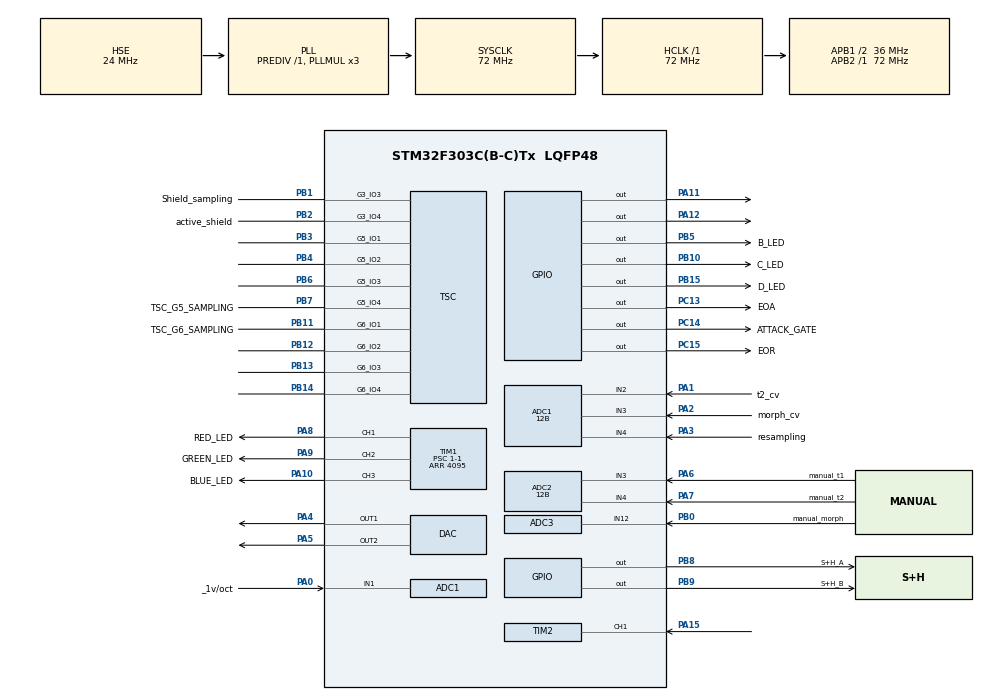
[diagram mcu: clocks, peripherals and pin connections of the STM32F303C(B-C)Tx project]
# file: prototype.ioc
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ADC1.Channel-0\#ChannelRegularConversion=ADC_CHANNEL_1
ADC1.Channel-1\#ChannelRegularConversion=ADC_CHANNEL_2
ADC1.Channel-2\#ChannelRegularConversion=ADC_CHANNEL_3
ADC1.Channel-4\#ChannelRegularConversion=ADC_CHANNEL_4
ADC1.ClockPrescaler=ADC_CLOCK_ASYNC_DIV1
ADC1.ContinuousConvMode=ENABLE
ADC1.DMAContinuousRequests=ENABLE
ADC1.DataAlign=ADC_DATAALIGN_RIGHT
ADC1.DiscontinuousConvMode=DISABLE
ADC1.EOCSelection=ADC_EOC_SEQ_CONV
ADC1.EnableAnalogWatchDog1=false
ADC1.EnableAnalogWatchDog2=false
ADC1.EnableAnalogWatchDog3=false
ADC1.EnableInjectedConversion=DISABLE
ADC1.EnableRegularConversion=ENABLE
ADC1.ExternalTrigConv=ADC_SOFTWARE_START
ADC1.ExternalTrigConvEdge=ADC_EXTERNALTRIGCONVEDGE_NONE
ADC1.LowPowerAutoWait=DISABLE
ADC1.NbrOfConversion=4
ADC1.NbrOfConversionFlag=1
ADC1.Offset-0\#ChannelRegularConversion=0
ADC1.Offset-1\#ChannelRegularConversion=0
ADC1.Offset-2\#ChannelRegularConversion=0
ADC1.Offset-4\#ChannelRegularConversion=0
ADC1.OffsetNumber-0\#ChannelRegularConversion=ADC_OFFSET_NONE
ADC1.OffsetNumber-1\#ChannelRegularConversion=ADC_OFFSET_NONE
ADC1.OffsetNumber-2\#ChannelRegularConversion=ADC_OFFSET_NONE
ADC1.OffsetNumber-4\#ChannelRegularConversion=ADC_OFFSET_NONE
ADC1.Overrun=ADC_OVR_DATA_OVERWRITTEN
ADC1.Rank-0\#ChannelRegularConversion=1
ADC1.Rank-1\#ChannelRegularConversion=2
ADC1.Rank-2\#ChannelRegularConversion=3
ADC1.Rank-4\#ChannelRegularConversion=4
ADC1.Resolution=ADC_RESOLUTION_12B
ADC1.SamplingTime-0\#ChannelRegularConversion=ADC_SAMPLETIME_181CYCLES_5
ADC1.SamplingTime-1\#ChannelRegularConversion=ADC_SAMPLETIME_181CYCLES_5
ADC1.SamplingTime-2\#ChannelRegularConversion=ADC_SAMPLETIME_181CYCLES_5
ADC1.SamplingTime-4\#ChannelRegularConversion=ADC_SAMPLETIME_181CYCLES_5
ADC1.ScanConvMode=ADC_SCAN_ENABLE
ADC1.master=1
ADC2.Channel-0\#ChannelRegularConversion=ADC_CHANNEL_3
ADC2.Channel-1\#ChannelRegularConversion=ADC_CHANNEL_4
ADC2.ClockPrescaler=ADC_CLOCK_ASYNC_DIV1
ADC2.ContinuousConvMode=ENABLE
ADC2.DMAContinuousRequests=ENABLE
ADC2.DataAlign=ADC_DATAALIGN_RIGHT
ADC2.DiscontinuousConvMode=DISABLE
ADC2.EOCSelection=ADC_EOC_SEQ_CONV
ADC2.EnableAnalogWatchDog1=false
ADC2.EnableAnalogWatchDog2=false
ADC2.EnableAnalogWatchDog3=false
ADC2.EnableInjectedConversion=ENABLE
ADC2.EnableRegularConversion=ENABLE
ADC2.ExternalTrigConv=ADC_SOFTWARE_START
ADC2.ExternalTrigConvEdge=ADC_EXTERNALTRIGCONVEDGE_NONE
ADC2.InjNumberOfConversion=0
ADC2.LowPowerAutoWait=DISABLE
ADC2.NbrOfConversion=2
ADC2.NbrOfConversionFlag=1
ADC2.Offset-0\#ChannelRegularConversion=0
ADC2.Offset-1\#ChannelRegularConversion=0
ADC2.OffsetNumber-0\#ChannelRegularConversion=ADC_OFFSET_NONE
ADC2.OffsetNumber-1\#ChannelRegularConversion=ADC_OFFSET_1
ADC2.Overrun=ADC_OVR_DATA_OVERWRITTEN
ADC2.Rank-0\#ChannelRegularConversion=1
ADC2.Rank-1\#ChannelRegularConversion=2
ADC2.Resolution=ADC_RESOLUTION_12B
ADC2.SamplingTime-0\#ChannelRegularConversion=ADC_SAMPLETIME_61CYCLES_5
ADC2.SamplingTime-1\#ChannelRegularConversion=ADC_SAMPLETIME_61CYCLES_5
ADC2.ScanConvMode=ADC_SCAN_ENABLE
ADC3.Channel-106\#ChannelRegularConversion=ADC_CHANNEL_12
ADC3.ClockPrescaler=ADC_CLOCK_ASYNC_DIV1
ADC3.ContinuousConvMode=ENABLE
ADC3.DMAContinuousRequests=ENABLE
ADC3.DataAlign=ADC_DATAALIGN_RIGHT
ADC3.DiscontinuousConvMode=DISABLE
ADC3.EOCSelection=ADC_EOC_SINGLE_CONV
ADC3.EnableAnalogWatchDog1=false
ADC3.EnableAnalogWatchDog2=false
ADC3.EnableAnalogWatchDog3=false
ADC3.EnableInjectedConversion=DISABLE
ADC3.EnableRegularConversion=ENABLE
ADC3.ExternalTrigConv=ADC_SOFTWARE_START
ADC3.ExternalTrigConvEdge=ADC_EXTERNALTRIGCONVEDGE_NONE
ADC3.LowPowerAutoWait=DISABLE
ADC3.NbrOfConversion=1
ADC3.NbrOfConversionFlag=1
ADC3.Offset-106\#ChannelRegularConversion=0
ADC3.OffsetNumber-106\#ChannelRegularConversion=ADC_OFFSET_NONE
ADC3.Overrun=ADC_OVR_DATA_OVERWRITTEN
ADC3.Rank-106\#ChannelRegularConversion=1
ADC3.Resolution=ADC_RESOLUTION_12B
ADC3.SamplingTime-106\#ChannelRegularConversion=ADC_SAMPLETIME_61CYCLES_5
ADC3.ScanConvMode=ADC_SCAN_DISABLE
ADC3.master=1
DAC.DAC_OutputBuffer=DAC_OUTPUTBUFFER_DISABLE
DAC.DAC_OutputBuffer2=DAC_OUTPUTBUFFER_DISABLE
DAC.DAC_Trigger=DAC_TRIGGER_T6_TRGO
DAC.DAC_Trigger2=DAC_TRIGGER_T6_TRGO
Dma.ADC1.2.Direction=DMA_PERIPH_TO_MEMORY
Dma.ADC1.2.Instance=DMA1_Channel1
Dma.ADC1.2.MemDataAlignment=DMA_MDATAALIGN_WORD
Dma.ADC1.2.MemInc=DMA_MINC_ENABLE
Dma.ADC1.2.Mode=DMA_CIRCULAR
Dma.ADC1.2.PeriphDataAlignment=DMA_PDATAALIGN_WORD
Dma.ADC1.2.PeriphInc=DMA_PINC_DISABLE
Dma.ADC1.2.Priority=DMA_PRIORITY_LOW
Dma.ADC2.0.Direction=DMA_PERIPH_TO_MEMORY
Dma.ADC2.0.Instance=DMA2_Channel1
Dma.ADC2.0.MemDataAlignment=DMA_MDATAALIGN_WORD
Dma.ADC2.0.MemInc=DMA_MINC_ENABLE
Dma.ADC2.0.Mode=DMA_CIRCULAR
Dma.ADC2.0.PeriphDataAlignment=DMA_PDATAALIGN_WORD
Dma.ADC2.0.PeriphInc=DMA_PINC_DISABLE
Dma.ADC2.0.Priority=DMA_PRIORITY_HIGH
Dma.ADC3.1.Direction=DMA_PERIPH_TO_MEMORY
Dma.ADC3.1.Instance=DMA2_Channel5
Dma.ADC3.1.MemDataAlignment=DMA_MDATAALIGN_WORD
Dma.ADC3.1.MemInc=DMA_MINC_ENABLE
Dma.ADC3.1.Mode=DMA_CIRCULAR
Dma.ADC3.1.PeriphDataAlignment=DMA_PDATAALIGN_WORD
Dma.ADC3.1.PeriphInc=DMA_PINC_DISABLE
Dma.ADC3.1.Priority=DMA_PRIORITY_HIGH
Dma.Request0=ADC2
Dma.Request1=ADC3
Dma.Request2=ADC1
Mcu.Family=STM32F3
Mcu.Name=STM32F303C(B-C)Tx
Mcu.Package=LQFP48
NVIC.DMA1_Channel1_IRQn=true\:1\:1\:true\:false\:true\:true
NVIC.DMA2_Channel1_IRQn=true\:2\:0\:true\:false\:true\:true
NVIC.DMA2_Channel5_IRQn=true\:1\:0\:true\:false\:true\:true
NVIC.PriorityGroup=NVIC_PRIORITYGROUP_2
NVIC.TIM1_BRK_TIM15_IRQn=true\:0\:0\:false\:false\:true\:true
NVIC.TIM2_IRQn=true\:0\:3\:false\:false\:true\:true
NVIC.TIM3_IRQn=true\:0\:0\:false\:false\:true\:true
NVIC.TIM6_DAC_IRQn=true\:0\:1\:true\:false\:true\:true
NVIC.TIM7_IRQn=true\:0\:2\:false\:false\:true\:true
NVIC.TIM8_UP_IRQn=true\:0\:2\:false\:false\:true\:true
PA0.GPIO_Label=_1v/oct
PA0.Mode=IN1-Single-Ended
PA0.Signal=ADC1_IN1
PA1.GPIO_Label=t2_cv
PA1.Mode=IN2-Single-Ended
PA1.Signal=ADC1_IN2
PA10.GPIO_Label=BLUE_LED
PA10.Signal=S_TIM1_CH3
PA11.Signal=GPIO_Output
PA12.Signal=GPIO_Output
PA13.Signal=SYS_JTMS-SWDIO
PA14.Signal=SYS_JTCK-SWCLK
PA15.Signal=S_TIM2_CH1_ETR
PA2.GPIO_Label=morph_cv
PA2.Mode=IN3-Single-Ended
PA2.Signal=ADC1_IN3
PA3.GPIO_Label=resampling
PA3.Mode=IN4-Single-Ended
PA3.Signal=ADC1_IN4
PA4.GPIO_Mode=GPIO_MODE_ANALOG
PA4.Signal=COMP_DAC1_group
PA5.Signal=COMP_DAC2_group
PA6.GPIO_Label=manual_t1
PA6.Mode=IN3-Single-Ended
PA6.Signal=ADC2_IN3
PA7.GPIO_Label=manual_t2
PA7.Mode=IN4-Single-Ended
PA7.Signal=ADC2_IN4
PA8.GPIO_Label=RED_LED
PA8.Signal=S_TIM1_CH1
PA9.GPIO_Label=GREEN_LED
PA9.Signal=S_TIM1_CH2
PB0.GPIO_Label=manual_morph
PB0.Mode=IN12-Single-Ended
PB0.Signal=ADC3_IN12
PB1.GPIO_Label=Shield_sampling
PB1.Mode=G3_IO3-Sampling
PB1.Signal=TSC_G3_IO3
PB10.GPIO_Label=C_LED
PB10.Signal=GPIO_Output
PB11.GPIO_Label=TSC_G6_SAMPLING
PB11.Mode=G6_IO1-Sampling
PB11.Signal=TSC_G6_IO1
PB12.Mode=G6_IO2-Channel
PB12.Signal=TSC_G6_IO2
PB13.Mode=G6_IO3-Channel
PB13.Signal=TSC_G6_IO3
PB14.Mode=G6_IO4-Channel
PB14.Signal=TSC_G6_IO4
PB15.GPIO_Label=D_LED
PB15.Signal=GPIO_Output
PB2.GPIO_Label=active_shield
PB2.Mode=G3_IO4-Shield
PB2.Signal=TSC_G3_IO4
PB3.Mode=G5_IO1-Channel
PB3.Signal=TSC_G5_IO1
PB4.Mode=G5_IO2-Channel
PB4.Signal=TSC_G5_IO2
PB5.GPIO_Label=B_LED
PB5.Signal=GPIO_Output
PB6.Mode=G5_IO3-Channel
PB6.Signal=TSC_G5_IO3
PB7.GPIO_Label=TSC_G5_SAMPLING
PB7.Mode=G5_IO4-Sampling
PB7.Signal=TSC_G5_IO4
PB8.GPIO_Label=S+H_A
PB8.Signal=GPIO_Output
PB9.GPIO_Label=S+H_B
PB9.Signal=GPIO_Output
PC13.GPIO_Label=EOA
PC13.Signal=GPIO_Output
PC14-OSC32_IN.GPIO_Label=ATTACK_GATE
PC14-OSC32_IN.Signal=GPIO_Output
PC15-OSC32_OUT.GPIO_Label=EOR
PC15-OSC32_OUT.Signal=GPIO_Output
PF0-OSC_IN.Mode=HSE-External-Oscillator
PF0-OSC_IN.Signal=RCC_OSC_IN
PF1-OSC_OUT.Mode=HSE-External-Oscillator
PF1-OSC_OUT.Signal=RCC_OSC_OUT
ProjectManager.HeapSize=0x200
ProjectManager.StackSize=0x400
ProjectManager.TargetToolchain=SW4STM32
RCC.ADC12PRES=RCC_ADC12PLLCLK_DIV8
RCC.ADC34PRES=RCC_ADC34PLLCLK_DIV16
RCC.AHBFreq_Value=72000000
RCC.APB1CLKDivider=RCC_HCLK_DIV2
RCC.APB1Freq_Value=36000000
RCC.APB1TimFreq_Value=72000000
RCC.APB2Freq_Value=72000000
RCC.APB2TimFreq_Value=72000000
RCC.CortexFreq_Value=72000000
RCC.HCLKFreq_Value=72000000
RCC.HSE_VALUE=24000000
RCC.HSI_VALUE=8000000
RCC.LSE_VALUE=32768
RCC.PLLMUL=RCC_PLL_MUL3
RCC.PLLSourceVirtual=RCC_PLLSOURCE_HSE
RCC.PRESCALERUSB=RCC_USBCLKSOURCE_PLL_DIV1_5
RCC.SYSCLKFreq_VALUE=72000000
RCC.SYSCLKSourceVirtual=RCC_SYSCLKSOURCE_PLLCLK
RCC.USBFreq_Value=48000000
SH.COMP_DAC1_group.0=DAC_OUT1,DAC_OUT1
SH.COMP_DAC2_group.0=DAC_OUT2,Enable_DAC_OUT2
SH.S_TIM1_CH1.0=TIM1_CH1,PWM Generation1 CH1
SH.S_TIM1_CH2.0=TIM1_CH2,PWM Generation2 CH2
SH.S_TIM1_CH3.0=TIM1_CH3,PWM Generation3 CH3
SH.S_TIM2_CH1_ETR.0=TIM2_CH1,Input_Capture1_from_TI1
TIM1.Channel-PWM\ Generation1\ CH1=TIM_CHANNEL_1
TIM1.Channel-PWM\ Generation2\ CH2=TIM_CHANNEL_2
TIM1.Channel-PWM\ Generation3\ CH3=TIM_CHANNEL_3
TIM1.Period=4095
TIM1.Prescaler=1-1
TIM15.Period=3084
TIM15.Prescaler=1000-1
TIM15.TIM_MasterOutputTrigger=TIM_TRGO_UPDATE
TIM2.Channel-Input_Capture1_from_TI1=TIM_CHANNEL_1
TIM2.ICPolarity_CH1=TIM_INPUTCHANNELPOLARITY_BOTHEDGE
TIM3.CounterMode=TIM_COUNTERMODE_DOWN
TIM3.Period=3840
TIM3.Prescaler=10000-1
TIM3.TIM_MasterOutputTrigger=TIM_TRGO_UPDATE
TIM4.Period=10000
TIM4.Prescaler=10000
TIM6.Period=1200
TIM6.Prescaler=1-1
TIM6.TIM_MasterOutputTrigger=TIM_TRGO_UPDATE
TIM7.Period=5000
TIM7.Prescaler=1
TIM7.TIM_MasterOutputTrigger=TIM_TRGO_UPDATE
TIM8.Period=5000
TIM8.Prescaler=1-1
TSC.CTPulseHighLength=TSC_CTPH_2CYCLES
TSC.CTPulseLowLength=TSC_CTPL_2CYCLES
TSC.ChannelIOs-G5_IO1=TSC_GROUP5_IO1
TSC.ChannelIOs-G5_IO2=TSC_GROUP5_IO2
TSC.ChannelIOs-G5_IO3=TSC_GROUP5_IO3
TSC.ChannelIOs-G6_IO2=TSC_GROUP6_IO2
TSC.ChannelIOs-G6_IO3=TSC_GROUP6_IO3
TSC.ChannelIOs-G6_IO4=TSC_GROUP6_IO4
TSC.IODefaultMode=TSC_IODEF_IN_FLOAT
TSC.MaxCountValue=TSC_MCV_16383
TSC.PulseGeneratorPrescaler=TSC_PG_PRESC_DIV32
TSC.SamplingIOs-G3_IO3=TSC_GROUP3_IO3
TSC.SamplingIOs-G5_IO4=TSC_GROUP5_IO4
TSC.SamplingIOs-G6_IO1=TSC_GROUP6_IO1
TSC.ShieldIOs-G3_IO4=TSC_GROUP3_IO4
VP_TIM15_VS_ClockSourceINT.Mode=Internal
VP_TIM3_VS_ClockSourceINT.Mode=Internal
VP_TIM4_VS_ClockSourceINT.Mode=Internal
VP_TIM6_VS_ClockSourceINT.Mode=Enable_Timer
VP_TIM7_VS_ClockSourceINT.Mode=Enable_Timer
VP_TIM8_VS_ClockSourceINT.Mode=Internal
board=prototype

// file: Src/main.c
/**
 ******************************************************************************
 * File Name          : main.c
 * Description        : Main program body
 ******************************************************************************
 ** This notice applies to any and all portions of this file
 * that are not between comment pairs USER CODE BEGIN and
 * USER CODE END. Other portions of this file, whether
 * inserted by the user or by software development tools
 * are owned by their respective copyright owners.
 *
 * COPYRIGHT(c) 2017 STMicroelectronics
 *
 * Redistribution and use in source and binary forms, with or without modification,
 * are permitted provided that the following conditions are met:
 *   1. Redistributions of source code must retain the above copyright notice,
 *      this list of conditions and the following disclaimer.
 *   2. Redistributions in binary form must reproduce the above copyright notice,
 *      this list of conditions and the following disclaimer in the documentation
 *      and/or other materials provided with the distribution.
 *   3. Neither the name of STMicroelectronics nor the names of its contributors
 *      may be used to endorse or promote products derived from this software
 *      without specific prior written permission.
 *
 * THIS SOFTWARE IS PROVIDED BY THE COPYRIGHT HOLDERS AND CONTRIBUTORS "AS IS"
 * AND ANY EXPRESS OR IMPLIED WARRANTIES, INCLUDING, BUT NOT LIMITED TO, THE
 * IMPLIED WARRANTIES OF MERCHANTABILITY AND FITNESS FOR A PARTICULAR PURPOSE ARE
 * DISCLAIMED. IN NO EVENT SHALL THE COPYRIGHT HOLDER OR CONTRIBUTORS BE LIABLE
 * FOR ANY DIRECT, INDIRECT, INCIDENTAL, SPECIAL, EXEMPLARY, OR CONSEQUENTIAL
 * DAMAGES (INCLUDING, BUT NOT LIMITED TO, PROCUREMENT OF SUBSTITUTE GOODS OR
 * SERVICES; LOSS OF USE, DATA, OR PROFITS; OR BUSINESS INTERRUPTION) HOWEVER
 * CAUSED AND ON ANY THEORY OF LIABILITY, WHETHER IN CONTRACT, STRICT LIABILITY,
 * OR TORT (INCLUDING NEGLIGENCE OR OTHERWISE) ARISING IN ANY WAY OUT OF THE USE
 * OF THIS SOFTWARE, EVEN IF ADVISED OF THE POSSIBILITY OF SUCH DAMAGE.
 *
 ******************************************************************************
 */
#include "main.h"
#include "stm32f3xx_hal.h"

/* USER CODE BEGIN Includes */

#include "interrupt_functions.h"
#include "tables.h"
#include "tsl_user.h"
#include "eeprom.h"
#include "user_interface.h"

/* USER CODE END Includes */

ADC_HandleTypeDef hadc1;
ADC_HandleTypeDef hadc2;
ADC_HandleTypeDef hadc3;
DMA_HandleTypeDef hdma_adc1;
DMA_HandleTypeDef hdma_adc2;
DMA_HandleTypeDef hdma_adc3;

DAC_HandleTypeDef hdac;

TIM_HandleTypeDef htim1;
TIM_HandleTypeDef htim2;
TIM_HandleTypeDef htim3;
TIM_HandleTypeDef htim4;
TIM_HandleTypeDef htim6;
TIM_HandleTypeDef htim7;
TIM_HandleTypeDef htim8;
TIM_HandleTypeDef htim15;

TSC_HandleTypeDef htsc;

/* USER CODE BEGIN PV */
/* Private variables ---------------------------------------------------------*/

// this is part of the user code needed to run the STM32 touch sense library
tsl_user_status_t tsl_status;

//declare the enums for use with the state restore function
enum speedTypes speed;
enum loopTypes loop;
enum trigModeTypes trigMode;
enum sampleHoldModeTypes sampleHoldMode;
enum logicOutATypes logicOutA;
enum logicOutBTypes logicOutB;

enum
{	NULL_SIG,     // Null signal, all state functions should ignore this signal and return their parent state or NONE if it's the top level state
	ENTRY_SIG,    // Entry signal, a state function should perform its entry actions (if any)
	EXIT_SIG,	  // Exit signal, a state function should pEntry signal, a state function should perform its entry actions (if any)erform its exit actions (if any)
	INIT_SIG,     // Just look to global value and initialize, return to default state.  For recalling (presets, memory)
	TIMEOUT_SIG,// timer timeout
	SENSOR_EVENT_SIG,  // Sensor state machine not busy, can be queried for events
	EXPAND_SW_ON_SIG,  // expander button depressed
	EXPAND_SW_OFF_SIG, // expander button released
	TSL_ERROR_SIG
};

//these are the UI variables that we need in our main loop
uint32_t modeflag;
uint32_t detectOn;
uint32_t displayNewMode;

int holdCalibration;

int debounce;

uint16_t VirtAddVarTab[NB_OF_VAR] = {0x1, 0x2, 0x3, 0x4, 0x5, 0x6, 0x7, 0x8, 0x9, 0x10, 0x11, 0x12, 0x13, 0x14, 0x15, 0x16};

// initialize the arrays that will be used by DMA to store our Knob and CV values
extern uint32_t ADCReadings1[4];
extern uint32_t ADCReadings2[2];
extern uint32_t ADCReadings3[1];

extern void initialise_monitor_handles(void);
/* USER CODE END PV */

void SystemClock_Config(void);
static void MX_GPIO_Init(void);
static void MX_DMA_Init(void);
static void MX_ADC1_Init(void);
static void MX_ADC2_Init(void);
static void MX_ADC3_Init(void);
static void MX_DAC_Init(void);
static void MX_TIM1_Init(void);
static void MX_TSC_Init(void);
static void MX_TIM2_Init(void);
static void MX_TIM6_Init(void);
static void MX_TIM7_Init(void);
static void MX_TIM8_Init(void);
static void MX_TIM4_Init(void);
static void MX_TIM3_Init(void);
static void MX_TIM15_Init(void);

void HAL_TIM_MspPostInit(TIM_HandleTypeDef *htim);

/* USER CODE BEGIN PFP */
/* Private function prototypes -----------------------------------------------*/

/* USER CODE END PFP */

int main(void) {

	/* MCU Configuration----------------------------------------------------------*/

	/* Reset of all peripherals, Initializes the Flash interface and the Systick. */
	HAL_Init();

	/* Configure the system clock */
	SystemClock_Config();

	/* Initialize all configured peripherals */
	MX_GPIO_Init();
	MX_DMA_Init();
	MX_ADC1_Init();
	MX_ADC2_Init();
	MX_ADC3_Init();
	MX_DAC_Init();
	MX_TIM1_Init();
	MX_TSC_Init();
	MX_TIM2_Init();
	MX_TIM6_Init();
	MX_TIM7_Init();
	MX_TIM8_Init();
	MX_TIM4_Init();
	MX_TIM3_Init();
	MX_TIM15_Init();

	/* USER CODE BEGIN 2 */

	fillFamilyArray();

	// declare the initialization state
	SET_RUNTIME_DISPLAY;

	((*(volatile uint32_t *) DAC1_ADDR) = (4095));
	((*(volatile uint32_t *) DAC2_ADDR) = (0));

	// set the priority and enable an interrupt line to be used by our phase state change interrupt
	HAL_NVIC_SetPriority(EXTI15_10_IRQn, 1, 0);
	HAL_NVIC_EnableIRQ(EXTI15_10_IRQn);

	HAL_ADCEx_Calibration_Start(&hadc1, ADC_SINGLE_ENDED);
	HAL_ADCEx_Calibration_Start(&hadc2, ADC_SINGLE_ENDED);
	HAL_ADCEx_Calibration_Start(&hadc3, ADC_SINGLE_ENDED);

	// initialize our ADCs and their respective DMA arrays
	HAL_ADC_Start_DMA(&hadc1, ADCReadings1, 4);
	HAL_ADC_Start_DMA(&hadc2, ADCReadings2, 2);
	HAL_ADC_Start_DMA(&hadc3, ADCReadings3, 1);

	// initialize the timer that runs the PWM for our RGB led
	HAL_TIM_Base_Start(&htim1);
	HAL_TIM_PWM_Start(&htim1, TIM_CHANNEL_1);
	HAL_TIM_PWM_Start(&htim1, TIM_CHANNEL_2);
	HAL_TIM_PWM_Start(&htim1, TIM_CHANNEL_3);

	// initialize our dac
	HAL_DAC_Start(&hdac, DAC_CHANNEL_1);
	HAL_DAC_Start(&hdac, DAC_CHANNEL_2);

	// initialize our touch sensors
	tsl_user_Init();

	// enable our S&H resampling interrupts
	__HAL_TIM_ENABLE_IT(&htim7, TIM_IT_UPDATE);
	__HAL_TIM_ENABLE_IT(&htim8, TIM_IT_UPDATE);

	// enable our trigger interrupt
	__HAL_TIM_ENABLE_IT(&htim15, TIM_IT_UPDATE);

	// enable our drum envelope interrupt
	__HAL_TIM_ENABLE_IT(&htim3, TIM_IT_UPDATE);

	//initialize our sample and holds to track
	//we must do this after the resampling interrupts have been enabled

	uiInitialize();

	// initialize the timer that is used for touch sensor press timeout
	__HAL_TIM_ENABLE_IT(&htim4, TIM_IT_UPDATE);

	//initialise_monitor_handles();

	//start our DAC time base
	HAL_TIM_Base_Start_IT(&htim6);

	// initialize the timer that is used to detect our triggers
	HAL_TIM_IC_Start_IT(&htim2, TIM_CHANNEL_1);

	/* USER CODE END 2 */

	/* Infinite loop */
	/* USER CODE BEGIN WHILE */
	while (1) {
		//check if the trigger button has been pressed
		if (((GPIOA->IDR & GPIO_PIN_13) == (uint32_t) GPIO_PIN_RESET)){
			//if we havent raised the trigger button flag, do so and set a pending interrupt
			if (!(TRIGGER_BUTTON)) {
				debounce++;
				if (debounce == 10) {
					uiDispatch(EXPAND_SW_ON_SIG);
					SET_TRIGGER_BUTTON;
					HAL_NVIC_SetPendingIRQ(TIM2_IRQn);
					debounce = 0;
				}
			}
		}
		//if the trigger button has been released but the trigger button flag is still high, lower it and set an IRQ
		else if (TRIGGER_BUTTON){
			debounce++;
			if (debounce == 10) {
				uiDispatch(EXPAND_SW_OFF_SIG);
				CLEAR_TRIGGER_BUTTON;
				HAL_NVIC_SetPendingIRQ(TIM2_IRQn);
				debounce = 0;
			}
		}
		// run the state machine that gets us a reading on our touch sensors
		tsl_status = tsl_user_Exec();  // retrieve TSL state machine status

		// Either send signal to check for new touch events or check timer (currently just for newmode display)
		if (tsl_status != TSL_USER_STATUS_BUSY) {
			uiDispatch(SENSOR_EVENT_SIG);
		}
		/* USER CODE END WHILE */
	}
}

/** System Clock Configuration
 */
void SystemClock_Config(void) {

	RCC_OscInitTypeDef RCC_OscInitStruct;
	RCC_ClkInitTypeDef RCC_ClkInitStruct;
	RCC_PeriphCLKInitTypeDef PeriphClkInit;

	/**Initializes the CPU, AHB and APB busses clocks
	 */
	RCC_OscInitStruct.OscillatorType = RCC_OSCILLATORTYPE_HSE;
	RCC_OscInitStruct.HSEState = RCC_HSE_ON;
	RCC_OscInitStruct.HSEPredivValue = RCC_HSE_PREDIV_DIV1;
	RCC_OscInitStruct.HSIState = RCC_HSI_ON;
	RCC_OscInitStruct.PLL.PLLState = RCC_PLL_ON;
	RCC_OscInitStruct.PLL.PLLSource = RCC_PLLSOURCE_HSE;
	RCC_OscInitStruct.PLL.PLLMUL = RCC_PLL_MUL3;
	if (HAL_RCC_OscConfig(&RCC_OscInitStruct) != HAL_OK) {
		_Error_Handler(__FILE__, __LINE__);
	}

	/**Initializes the CPU, AHB and APB busses clocks
	 */
	RCC_ClkInitStruct.ClockType = RCC_CLOCKTYPE_HCLK | RCC_CLOCKTYPE_SYSCLK
			| RCC_CLOCKTYPE_PCLK1 | RCC_CLOCKTYPE_PCLK2;
	RCC_ClkInitStruct.SYSCLKSource = RCC_SYSCLKSOURCE_PLLCLK;
	RCC_ClkInitStruct.AHBCLKDivider = RCC_SYSCLK_DIV1;
	RCC_ClkInitStruct.APB1CLKDivider = RCC_HCLK_DIV2;
	RCC_ClkInitStruct.APB2CLKDivider = RCC_HCLK_DIV1;

	if (HAL_RCC_ClockConfig(&RCC_ClkInitStruct, FLASH_LATENCY_2) != HAL_OK) {
		_Error_Handler(__FILE__, __LINE__);
	}

	PeriphClkInit.PeriphClockSelection = RCC_PERIPHCLK_TIM1 | RCC_PERIPHCLK_TIM8
			| RCC_PERIPHCLK_ADC12 | RCC_PERIPHCLK_ADC34;
	PeriphClkInit.Adc12ClockSelection = RCC_ADC12PLLCLK_DIV2;
	PeriphClkInit.Adc34ClockSelection = RCC_ADC34PLLCLK_DIV128;
	PeriphClkInit.Tim1ClockSelection = RCC_TIM1CLK_HCLK;
	PeriphClkInit.Tim8ClockSelection = RCC_TIM8CLK_HCLK;
	if (HAL_RCCEx_PeriphCLKConfig(&PeriphClkInit) != HAL_OK) {
		_Error_Handler(__FILE__, __LINE__);
	}

	/**Configure the Systick interrupt time
	 */
	HAL_SYSTICK_Config(HAL_RCC_GetHCLKFreq() / 1000);

	/**Configure the Systick
	 */
	HAL_SYSTICK_CLKSourceConfig(SYSTICK_CLKSOURCE_HCLK);

	/* SysTick_IRQn interrupt configuration */
	HAL_NVIC_SetPriority(SysTick_IRQn, 0, 0);
}

/* ADC1 init function */
static void MX_ADC1_Init(void) {

	ADC_MultiModeTypeDef multimode;
	ADC_ChannelConfTypeDef sConfig;

	/**Common config
	 */
	hadc1.Instance = ADC1;
	hadc1.Init.ClockPrescaler = ADC_CLOCK_ASYNC_DIV1;
	hadc1.Init.Resolution = ADC_RESOLUTION_12B;
	hadc1.Init.ScanConvMode = ADC_SCAN_ENABLE;
	hadc1.Init.ContinuousConvMode = ENABLE;
	hadc1.Init.DiscontinuousConvMode = DISABLE;
	hadc1.Init.ExternalTrigConvEdge = ADC_EXTERNALTRIGCONVEDGE_NONE;
	hadc1.Init.ExternalTrigConv = ADC_SOFTWARE_START;
	hadc1.Init.DataAlign = ADC_DATAALIGN_RIGHT;
	hadc1.Init.NbrOfConversion = 4;
	hadc1.Init.DMAContinuousRequests = ENABLE;
	hadc1.Init.EOCSelection = ADC_EOC_SEQ_CONV;
	hadc1.Init.LowPowerAutoWait = DISABLE;
	hadc1.Init.Overrun = ADC_OVR_DATA_OVERWRITTEN;
	if (HAL_ADC_Init(&hadc1) != HAL_OK) {
		_Error_Handler(__FILE__, __LINE__);
	}

	/**Configure the ADC multi-mode
	 */
	multimode.Mode = ADC_MODE_INDEPENDENT;
	if (HAL_ADCEx_MultiModeConfigChannel(&hadc1, &multimode) != HAL_OK) {
		_Error_Handler(__FILE__, __LINE__);
	}

	/**Configure Regular Channel
	 */
	sConfig.Channel = ADC_CHANNEL_1;
	sConfig.Rank = 1;
	sConfig.SingleDiff = ADC_SINGLE_ENDED;
	sConfig.SamplingTime = ADC_SAMPLETIME_601CYCLES_5;
	sConfig.OffsetNumber = ADC_OFFSET_NONE;
	sConfig.Offset = 0;
	if (HAL_ADC_ConfigChannel(&hadc1, &sConfig) != HAL_OK) {
		_Error_Handler(__FILE__, __LINE__);
	}

	/**Configure Regular Channel
	 */
	sConfig.Channel = ADC_CHANNEL_2;
	sConfig.Rank = 2;
	if (HAL_ADC_ConfigChannel(&hadc1, &sConfig) != HAL_OK) {
		_Error_Handler(__FILE__, __LINE__);
	}

	/**Configure Regular Channel
	 */
	sConfig.Channel = ADC_CHANNEL_3;
	sConfig.Rank = 3;
	if (HAL_ADC_ConfigChannel(&hadc1, &sConfig) != HAL_OK) {
		_Error_Handler(__FILE__, __LINE__);
	}

	/**Configure Regular Channel
	 */
	sConfig.Channel = ADC_CHANNEL_4;
	sConfig.Rank = 4;
	if (HAL_ADC_ConfigChannel(&hadc1, &sConfig) != HAL_OK) {
		_Error_Handler(__FILE__, __LINE__);
	}

}

/* ADC2 init function */
static void MX_ADC2_Init(void) {

	ADC_ChannelConfTypeDef sConfig;

	/**Common config
	 */
	hadc2.Instance = ADC2;
	hadc2.Init.ClockPrescaler = ADC_CLOCK_ASYNC_DIV1;
	hadc2.Init.Resolution = ADC_RESOLUTION_12B;
	hadc2.Init.ScanConvMode = ADC_SCAN_ENABLE;
	hadc2.Init.ContinuousConvMode = ENABLE;
	hadc2.Init.DiscontinuousConvMode = DISABLE;
	hadc2.Init.ExternalTrigConvEdge = ADC_EXTERNALTRIGCONVEDGE_NONE;
	hadc2.Init.ExternalTrigConv = ADC_SOFTWARE_START;
	hadc2.Init.DataAlign = ADC_DATAALIGN_RIGHT;
	hadc2.Init.NbrOfConversion = 2;
	hadc2.Init.DMAContinuousRequests = ENABLE;
	hadc2.Init.EOCSelection = ADC_EOC_SEQ_CONV;
	hadc2.Init.LowPowerAutoWait = DISABLE;
	hadc2.Init.Overrun = ADC_OVR_DATA_OVERWRITTEN;
	if (HAL_ADC_Init(&hadc2) != HAL_OK) {
		_Error_Handler(__FILE__, __LINE__);
	}

	/**Configure Regular Channel
	 */
	sConfig.Channel = ADC_CHANNEL_3;
	sConfig.Rank = 1;
	sConfig.SingleDiff = ADC_SINGLE_ENDED;
	sConfig.SamplingTime = ADC_SAMPLETIME_601CYCLES_5;
	sConfig.OffsetNumber = ADC_OFFSET_NONE;
	sConfig.Offset = 0;
	if (HAL_ADC_ConfigChannel(&hadc2, &sConfig) != HAL_OK) {
		_Error_Handler(__FILE__, __LINE__);
	}

	/**Configure Regular Channel
	 */
	sConfig.Channel = ADC_CHANNEL_4;
	sConfig.Rank = 2;
	sConfig.OffsetNumber = ADC_OFFSET_1;
	if (HAL_ADC_ConfigChannel(&hadc2, &sConfig) != HAL_OK) {
		_Error_Handler(__FILE__, __LINE__);
	}

}

/* ADC3 init function */
static void MX_ADC3_Init(void) {

	ADC_MultiModeTypeDef multimode;
	ADC_ChannelConfTypeDef sConfig;

	/**Common config
	 */
	hadc3.Instance = ADC3;
	hadc3.Init.ClockPrescaler = ADC_CLOCK_ASYNC_DIV1;
	hadc3.Init.Resolution = ADC_RESOLUTION_12B;
	hadc3.Init.ScanConvMode = ADC_SCAN_DISABLE;
	hadc3.Init.ContinuousConvMode = ENABLE;
	hadc3.Init.DiscontinuousConvMode = DISABLE;
	hadc3.Init.ExternalTrigConvEdge = ADC_EXTERNALTRIGCONVEDGE_NONE;
	hadc3.Init.ExternalTrigConv = ADC_SOFTWARE_START;
	hadc3.Init.DataAlign = ADC_DATAALIGN_RIGHT;
	hadc3.Init.NbrOfConversion = 1;
	hadc3.Init.DMAContinuousRequests = ENABLE;
	hadc3.Init.EOCSelection = ADC_EOC_SINGLE_CONV;
	hadc3.Init.LowPowerAutoWait = DISABLE;
	hadc3.Init.Overrun = ADC_OVR_DATA_OVERWRITTEN;
	if (HAL_ADC_Init(&hadc3) != HAL_OK) {
		_Error_Handler(__FILE__, __LINE__);
	}

	/**Configure the ADC multi-mode
	 */
	multimode.Mode = ADC_MODE_INDEPENDENT;
	if (HAL_ADCEx_MultiModeConfigChannel(&hadc3, &multimode) != HAL_OK) {
		_Error_Handler(__FILE__, __LINE__);
	}

	/**Configure Regular Channel
	 */
	sConfig.Channel = ADC_CHANNEL_12;
	sConfig.Rank = 1;
	sConfig.SingleDiff = ADC_SINGLE_ENDED;
	sConfig.SamplingTime = ADC_SAMPLETIME_601CYCLES_5;
	sConfig.OffsetNumber = ADC_OFFSET_NONE;
	sConfig.Offset = 0;
	if (HAL_ADC_ConfigChannel(&hadc3, &sConfig) != HAL_OK) {
		_Error_Handler(__FILE__, __LINE__);
	}

}

/* DAC init function */
static void MX_DAC_Init(void) {

	DAC_ChannelConfTypeDef sConfig;

	/**DAC Initialization
	 */
	hdac.Instance = DAC;
	if (HAL_DAC_Init(&hdac) != HAL_OK) {
		_Error_Handler(__FILE__, __LINE__);
	}

	/**DAC channel OUT1 config
	 */
	sConfig.DAC_Trigger = DAC_TRIGGER_T6_TRGO;
	sConfig.DAC_OutputBuffer = DAC_OUTPUTBUFFER_DISABLE;
	if (HAL_DAC_ConfigChannel(&hdac, &sConfig, DAC_CHANNEL_1) != HAL_OK) {
		_Error_Handler(__FILE__, __LINE__);
	}

	/**DAC channel OUT2 config
	 */
	if (HAL_DAC_ConfigChannel(&hdac, &sConfig, DAC_CHANNEL_2) != HAL_OK) {
		_Error_Handler(__FILE__, __LINE__);
	}

}

/* TIM1 init function */
static void MX_TIM1_Init(void) {

	TIM_MasterConfigTypeDef sMasterConfig;
	TIM_OC_InitTypeDef sConfigOC;
	TIM_BreakDeadTimeConfigTypeDef sBreakDeadTimeConfig;

	htim1.Instance = TIM1;
	htim1.Init.Prescaler = 1 - 1;
	htim1.Init.CounterMode = TIM_COUNTERMODE_UP;
	htim1.Init.Period = 4095;
	htim1.Init.ClockDivision = TIM_CLOCKDIVISION_DIV1;
	htim1.Init.RepetitionCounter = 0;
	htim1.Init.AutoReloadPreload = TIM_AUTORELOAD_PRELOAD_DISABLE;
	if (HAL_TIM_PWM_Init(&htim1) != HAL_OK) {
		_Error_Handler(__FILE__, __LINE__);
	}

	sMasterConfig.MasterOutputTrigger = TIM_TRGO_RESET;
	sMasterConfig.MasterOutputTrigger2 = TIM_TRGO2_RESET;
	sMasterConfig.MasterSlaveMode = TIM_MASTERSLAVEMODE_DISABLE;
	if (HAL_TIMEx_MasterConfigSynchronization(&htim1, &sMasterConfig)
			!= HAL_OK) {
		_Error_Handler(__FILE__, __LINE__);
	}

	sConfigOC.OCMode = TIM_OCMODE_PWM1;
	sConfigOC.Pulse = 0;
	sConfigOC.OCPolarity = TIM_OCPOLARITY_HIGH;
	sConfigOC.OCNPolarity = TIM_OCNPOLARITY_HIGH;
	sConfigOC.OCFastMode = TIM_OCFAST_DISABLE;
	sConfigOC.OCIdleState = TIM_OCIDLESTATE_RESET;
	sConfigOC.OCNIdleState = TIM_OCNIDLESTATE_RESET;
	if (HAL_TIM_PWM_ConfigChannel(&htim1, &sConfigOC, TIM_CHANNEL_1)
			!= HAL_OK) {
		_Error_Handler(__FILE__, __LINE__);
	}

	if (HAL_TIM_PWM_ConfigChannel(&htim1, &sConfigOC, TIM_CHANNEL_2)
			!= HAL_OK) {
		_Error_Handler(__FILE__, __LINE__);
	}

	if (HAL_TIM_PWM_ConfigChannel(&htim1, &sConfigOC, TIM_CHANNEL_3)
			!= HAL_OK) {
		_Error_Handler(__FILE__, __LINE__);
	}

	sBreakDeadTimeConfig.OffStateRunMode = TIM_OSSR_DISABLE;
	sBreakDeadTimeConfig.OffStateIDLEMode = TIM_OSSI_DISABLE;
	sBreakDeadTimeConfig.LockLevel = TIM_LOCKLEVEL_OFF;
	sBreakDeadTimeConfig.DeadTime = 0;
	sBreakDeadTimeConfig.BreakState = TIM_BREAK_DISABLE;
	sBreakDeadTimeConfig.BreakPolarity = TIM_BREAKPOLARITY_HIGH;
	sBreakDeadTimeConfig.BreakFilter = 0;
	sBreakDeadTimeConfig.Break2State = TIM_BREAK2_DISABLE;
	sBreakDeadTimeConfig.Break2Polarity = TIM_BREAK2POLARITY_HIGH;
	sBreakDeadTimeConfig.Break2Filter = 0;
	sBreakDeadTimeConfig.AutomaticOutput = TIM_AUTOMATICOUTPUT_DISABLE;
	if (HAL_TIMEx_ConfigBreakDeadTime(&htim1, &sBreakDeadTimeConfig)
			!= HAL_OK) {
		_Error_Handler(__FILE__, __LINE__);
	}

	HAL_TIM_MspPostInit(&htim1);

}

/* TIM2 init function */
static void MX_TIM2_Init(void) {

	TIM_MasterConfigTypeDef sMasterConfig;
	TIM_IC_InitTypeDef sConfigIC;

	htim2.Instance = TIM2;
	htim2.Init.Prescaler = 0;
	htim2.Init.CounterMode = TIM_COUNTERMODE_UP;
	htim2.Init.Period = 0;
	htim2.Init.ClockDivision = TIM_CLOCKDIVISION_DIV1;
	htim2.Init.AutoReloadPreload = TIM_AUTORELOAD_PRELOAD_DISABLE;
	if (HAL_TIM_IC_Init(&htim2) != HAL_OK) {
		_Error_Handler(__FILE__, __LINE__);
	}

	sMasterConfig.MasterOutputTrigger = TIM_TRGO_RESET;
	sMasterConfig.MasterSlaveMode = TIM_MASTERSLAVEMODE_DISABLE;
	if (HAL_TIMEx_MasterConfigSynchronization(&htim2, &sMasterConfig)
			!= HAL_OK) {
		_Error_Handler(__FILE__, __LINE__);
	}

	sConfigIC.ICPolarity = TIM_INPUTCHANNELPOLARITY_BOTHEDGE;
	sConfigIC.ICSelection = TIM_ICSELECTION_DIRECTTI;
	sConfigIC.ICPrescaler = TIM_ICPSC_DIV1;
	sConfigIC.ICFilter = 0;
	if (HAL_TIM_IC_ConfigChannel(&htim2, &sConfigIC, TIM_CHANNEL_1) != HAL_OK) {
		_Error_Handler(__FILE__, __LINE__);
	}

}

/* TIM3 init function */
static void MX_TIM3_Init(void) {

	TIM_ClockConfigTypeDef sClockSourceConfig;
	TIM_MasterConfigTypeDef sMasterConfig;

	htim3.Instance = TIM3;
	htim3.Init.Prescaler = 10000 - 1;
	htim3.Init.CounterMode = TIM_COUNTERMODE_DOWN;
	htim3.Init.Period = 3840;
	htim3.Init.ClockDivision = TIM_CLOCKDIVISION_DIV1;
	htim3.Init.AutoReloadPreload = TIM_AUTORELOAD_PRELOAD_DISABLE;
	if (HAL_TIM_Base_Init(&htim3) != HAL_OK) {
		_Error_Handler(__FILE__, __LINE__);
	}

	sClockSourceConfig.ClockSource = TIM_CLOCKSOURCE_INTERNAL;
	if (HAL_TIM_ConfigClockSource(&htim3, &sClockSourceConfig) != HAL_OK) {
		_Error_Handler(__FILE__, __LINE__);
	}

	sMasterConfig.MasterOutputTrigger = TIM_TRGO_UPDATE;
	sMasterConfig.MasterSlaveMode = TIM_MASTERSLAVEMODE_DISABLE;
	if (HAL_TIMEx_MasterConfigSynchronization(&htim3, &sMasterConfig)
			!= HAL_OK) {
		_Error_Handler(__FILE__, __LINE__);
	}

}

/* TIM4 init function */
static void MX_TIM4_Init(void) {

	TIM_ClockConfigTypeDef sClockSourceConfig;
	TIM_MasterConfigTypeDef sMasterConfig;

	htim4.Instance = TIM4;
	htim4.Init.Prescaler = 10000;
	htim4.Init.CounterMode = TIM_COUNTERMODE_UP;
	htim4.Init.Period = 1000;
	htim4.Init.ClockDivision = TIM_CLOCKDIVISION_DIV1;
	htim4.Init.AutoReloadPreload = TIM_AUTORELOAD_PRELOAD_DISABLE;
	if (HAL_TIM_Base_Init(&htim4) != HAL_OK) {
		_Error_Handler(__FILE__, __LINE__);
	}

	sClockSourceConfig.ClockSource = TIM_CLOCKSOURCE_INTERNAL;
	if (HAL_TIM_ConfigClockSource(&htim4, &sClockSourceConfig) != HAL_OK) {
		_Error_Handler(__FILE__, __LINE__);
	}

	sMasterConfig.MasterOutputTrigger = TIM_TRGO_UPDATE;
	sMasterConfig.MasterSlaveMode = TIM_MASTERSLAVEMODE_DISABLE;
	if (HAL_TIMEx_MasterConfigSynchronization(&htim4, &sMasterConfig)
			!= HAL_OK) {
		_Error_Handler(__FILE__, __LINE__);
	}

}

/* TIM6 init function */
static void MX_TIM6_Init(void) {

	TIM_MasterConfigTypeDef sMasterConfig;

	htim6.Instance = TIM6;
	htim6.Init.Prescaler = 1;
	htim6.Init.CounterMode = TIM_COUNTERMODE_UP;
	htim6.Init.Period = 2000;
	htim6.Init.AutoReloadPreload = TIM_AUTORELOAD_PRELOAD_DISABLE;
	if (HAL_TIM_Base_Init(&htim6) != HAL_OK) {
		_Error_Handler(__FILE__, __LINE__);
	}

	sMasterConfig.MasterOutputTrigger = TIM_TRGO_UPDATE;
	sMasterConfig.MasterSlaveMode = TIM_MASTERSLAVEMODE_DISABLE;
	if (HAL_TIMEx_MasterConfigSynchronization(&htim6, &sMasterConfig)
			!= HAL_OK) {
		_Error_Handler(__FILE__, __LINE__);
	}

}

/* TIM7 init function */
static void MX_TIM7_Init(void) {

	TIM_MasterConfigTypeDef sMasterConfig;

	htim7.Instance = TIM7;
	htim7.Init.Prescaler = 1;
	htim7.Init.CounterMode = TIM_COUNTERMODE_UP;
	htim7.Init.Period = 1000;
	htim7.Init.AutoReloadPreload = TIM_AUTORELOAD_PRELOAD_DISABLE;
	if (HAL_TIM_Base_Init(&htim7) != HAL_OK) {
		_Error_Handler(__FILE__, __LINE__);
	}

	sMasterConfig.MasterOutputTrigger = TIM_TRGO_UPDATE;
	sMasterConfig.MasterSlaveMode = TIM_MASTERSLAVEMODE_DISABLE;
	if (HAL_TIMEx_MasterConfigSynchronization(&htim7, &sMasterConfig)
			!= HAL_OK) {
		_Error_Handler(__FILE__, __LINE__);
	}

}

/* TIM8 init function */
static void MX_TIM8_Init(void) {

	TIM_ClockConfigTypeDef sClockSourceConfig;
	TIM_MasterConfigTypeDef sMasterConfig;

	htim8.Instance = TIM8;
	htim8.Init.Prescaler = 1 - 1;
	htim8.Init.CounterMode = TIM_COUNTERMODE_UP;
	htim8.Init.Period = 1000;
	htim8.Init.ClockDivision = TIM_CLOCKDIVISION_DIV1;
	htim8.Init.RepetitionCounter = 0;
	htim8.Init.AutoReloadPreload = TIM_AUTORELOAD_PRELOAD_DISABLE;
	if (HAL_TIM_Base_Init(&htim8) != HAL_OK) {
		_Error_Handler(__FILE__, __LINE__);
	}

	sClockSourceConfig.ClockSource = TIM_CLOCKSOURCE_INTERNAL;
	if (HAL_TIM_ConfigClockSource(&htim8, &sClockSourceConfig) != HAL_OK) {
		_Error_Handler(__FILE__, __LINE__);
	}

	sMasterConfig.MasterOutputTrigger = TIM_TRGO_RESET;
	sMasterConfig.MasterOutputTrigger2 = TIM_TRGO2_RESET;
	sMasterConfig.MasterSlaveMode = TIM_MASTERSLAVEMODE_DISABLE;
	if (HAL_TIMEx_MasterConfigSynchronization(&htim8, &sMasterConfig)
			!= HAL_OK) {
		_Error_Handler(__FILE__, __LINE__);
	}

}

/* TIM15 init function */
static void MX_TIM15_Init(void) {

	TIM_ClockConfigTypeDef sClockSourceConfig;
	TIM_MasterConfigTypeDef sMasterConfig;

	htim15.Instance = TIM15;
	htim15.Init.Prescaler = 1 - 1;
	htim15.Init.CounterMode = TIM_COUNTERMODE_UP;
	htim15.Init.Period = 6000;
	htim15.Init.ClockDivision = TIM_CLOCKDIVISION_DIV1;
	htim15.Init.RepetitionCounter = 0;
	htim15.Init.AutoReloadPreload = TIM_AUTORELOAD_PRELOAD_DISABLE;
	if (HAL_TIM_Base_Init(&htim15) != HAL_OK) {
		_Error_Handler(__FILE__, __LINE__);
	}

	sClockSourceConfig.ClockSource = TIM_CLOCKSOURCE_INTERNAL;
	if (HAL_TIM_ConfigClockSource(&htim15, &sClockSourceConfig) != HAL_OK) {
		_Error_Handler(__FILE__, __LINE__);
	}

	sMasterConfig.MasterOutputTrigger = TIM_TRGO_UPDATE;
	sMasterConfig.MasterSlaveMode = TIM_MASTERSLAVEMODE_DISABLE;
	if (HAL_TIMEx_MasterConfigSynchronization(&htim15, &sMasterConfig)
			!= HAL_OK) {
		_Error_Handler(__FILE__, __LINE__);
	}

}

/* TSC init function */
static void MX_TSC_Init(void) {

	/**Configure the TSC peripheral
	 */
	htsc.Instance = TSC;
	htsc.Init.CTPulseHighLength = TSC_CTPH_5CYCLES;
	htsc.Init.CTPulseLowLength = TSC_CTPL_5CYCLES;
	htsc.Init.SpreadSpectrum = DISABLE;
	htsc.Init.SpreadSpectrumDeviation = 1;
	htsc.Init.SpreadSpectrumPrescaler = TSC_SS_PRESC_DIV1;
	htsc.Init.PulseGeneratorPrescaler = TSC_PG_PRESC_DIV32;
	htsc.Init.MaxCountValue = TSC_MCV_16383;
	htsc.Init.IODefaultMode = TSC_IODEF_IN_FLOAT;
	htsc.Init.SynchroPinPolarity = TSC_SYNC_POLARITY_FALLING;
	htsc.Init.AcquisitionMode = TSC_ACQ_MODE_NORMAL;
	htsc.Init.MaxCountInterrupt = DISABLE;
	htsc.Init.ChannelIOs = TSC_GROUP5_IO1 | TSC_GROUP5_IO2 | TSC_GROUP5_IO3
			| TSC_GROUP6_IO2 | TSC_GROUP6_IO3 | TSC_GROUP6_IO4;
	htsc.Init.ShieldIOs = TSC_GROUP3_IO4;
	htsc.Init.SamplingIOs = TSC_GROUP3_IO3 | TSC_GROUP5_IO4 | TSC_GROUP6_IO1;
	if (HAL_TSC_Init(&htsc) != HAL_OK) {
		_Error_Handler(__FILE__, __LINE__);
	}

}

static void MX_DMA_Init(void) {
	/* DMA controller clock enable */
	__HAL_RCC_DMA2_CLK_ENABLE()
			;
	__HAL_RCC_DMA1_CLK_ENABLE()
	;

	/* DMA interrupt init */
	/* DMA1_Channel1_IRQn interrupt configuration */
	HAL_NVIC_SetPriority(DMA1_Channel1_IRQn, 1, 1);
	HAL_NVIC_EnableIRQ(DMA1_Channel1_IRQn);
	/* DMA2_Channel1_IRQn interrupt configuration */
	HAL_NVIC_SetPriority(DMA2_Channel1_IRQn, 2, 0);
	HAL_NVIC_EnableIRQ(DMA2_Channel1_IRQn);
	/* DMA2_Channel5_IRQn interrupt configuration */
	HAL_NVIC_SetPriority(DMA2_Channel5_IRQn, 1, 0);
	HAL_NVIC_EnableIRQ(DMA2_Channel5_IRQn);

}

/** Configure pins as
 * Analog
 * Input
 * Output
 * EVENT_OUT
 * EXTI
 */
static void MX_GPIO_Init(void) {

	GPIO_InitTypeDef GPIO_InitStruct;

	/* GPIO Ports Clock Enable */
	__HAL_RCC_GPIOC_CLK_ENABLE()
	;
	__HAL_RCC_GPIOF_CLK_ENABLE()
	;
	__HAL_RCC_GPIOA_CLK_ENABLE()
	;
	__HAL_RCC_GPIOB_CLK_ENABLE()
	;

	/*Configure GPIO pin Output Level */
	HAL_GPIO_WritePin(GPIOC, EOA_Pin | ATTACK_GATE_Pin | EOR_Pin,
			GPIO_PIN_RESET);

	/*Configure GPIO pin Output Level */
	HAL_GPIO_WritePin(GPIOB,
			C_LED_Pin | D_LED_Pin | B_LED_Pin | S_H_A_Pin | S_H_B_Pin,
			GPIO_PIN_RESET);

	/*Configure GPIO pin Output Level */
	HAL_GPIO_WritePin(GPIOA, GPIO_PIN_12, GPIO_PIN_RESET);

	/*Configure GPIO pins : EOA_Pin ATTACK_GATE_Pin EOR_Pin */
	GPIO_InitStruct.Pin = EOA_Pin | ATTACK_GATE_Pin | EOR_Pin;
	GPIO_InitStruct.Mode = GPIO_MODE_OUTPUT_PP;
	GPIO_InitStruct.Pull = GPIO_NOPULL;
	GPIO_InitStruct.Speed = GPIO_SPEED_FREQ_LOW;
	HAL_GPIO_Init(GPIOC, &GPIO_InitStruct);

	/*Configure GPIO pins : C_LED_Pin D_LED_Pin B_LED_Pin S_H_A_Pin
	 S_H_B_Pin */
	GPIO_InitStruct.Pin = C_LED_Pin | D_LED_Pin | B_LED_Pin | S_H_A_Pin
			| S_H_B_Pin;
	GPIO_InitStruct.Mode = GPIO_MODE_OUTPUT_PP;
	GPIO_InitStruct.Pull = GPIO_NOPULL;
	GPIO_InitStruct.Speed = GPIO_SPEED_FREQ_LOW;
	HAL_GPIO_Init(GPIOB, &GPIO_InitStruct);

	/*Configure GPIO pins : PA11 PA12 */
	GPIO_InitStruct.Pin = GPIO_PIN_12;
	GPIO_InitStruct.Mode = GPIO_MODE_OUTPUT_PP;
	GPIO_InitStruct.Pull = GPIO_NOPULL;
	GPIO_InitStruct.Speed = GPIO_SPEED_FREQ_LOW;
	HAL_GPIO_Init(GPIOA, &GPIO_InitStruct);

	GPIO_InitStruct.Pin = GPIO_PIN_11;
//	GPIO_InitStruct.Mode = GPIO_MODE_INPUT;
//	GPIO_InitStruct.Pull = GPIO_PULLUP;
	GPIO_InitStruct.Mode = GPIO_MODE_OUTPUT_PP; //rev2
	GPIO_InitStruct.Pull = GPIO_NOPULL;
	GPIO_InitStruct.Speed = GPIO_SPEED_FREQ_LOW;
	HAL_GPIO_Init(GPIOA, &GPIO_InitStruct);

}

void _Error_Handler(char * file, int line) {
	while (1) {
	}
}

/************************ (C) COPYRIGHT STMicroelectronics *****END OF FILE****/
